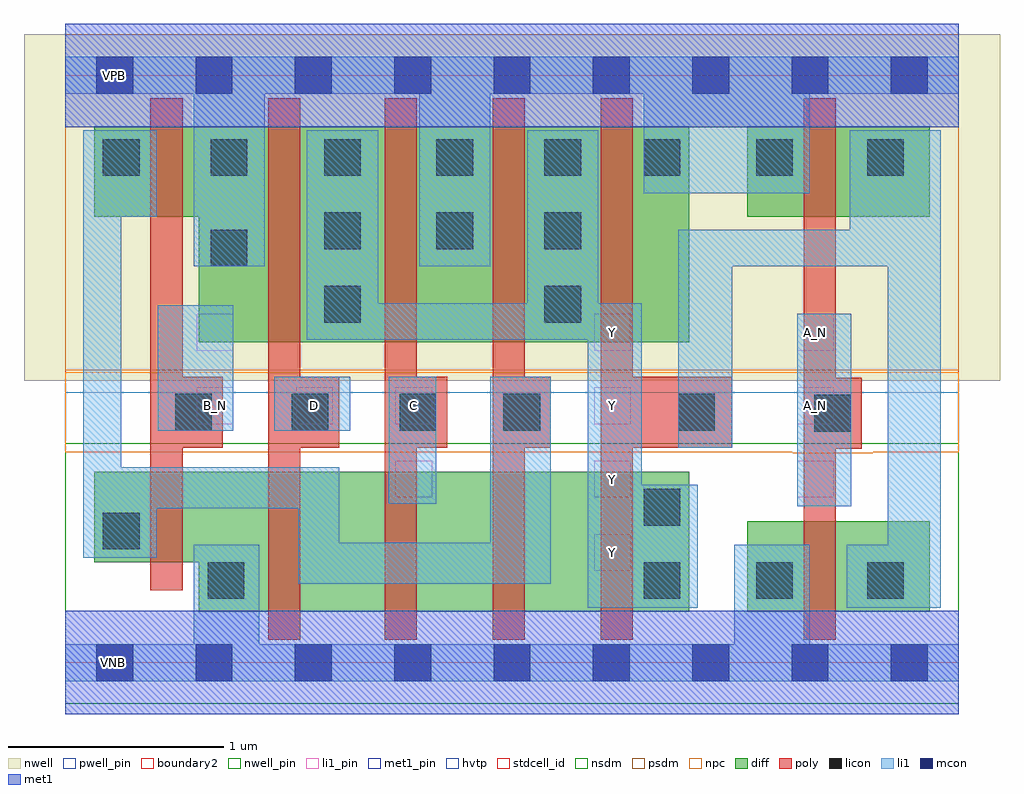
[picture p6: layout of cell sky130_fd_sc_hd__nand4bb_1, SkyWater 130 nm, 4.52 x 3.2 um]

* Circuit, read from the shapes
.subckt sky130_fd_sc_hd__nand4bb_1 A_N B_N C D VGND VNB VPB VPWR Y
XM1 VGND B_N n1 VNB sky130_fd_pr__nfet_01v8 w=0.42 l=0.15
XM2 n2 D VGND VNB sky130_fd_pr__nfet_01v8 w=0.65 l=0.15
XM3 n3 C n2 VNB sky130_fd_pr__nfet_01v8 w=0.65 l=0.15
XM4 n4 n1 n3 VNB sky130_fd_pr__nfet_01v8 w=0.65 l=0.15
XM5 Y n5 n4 VNB sky130_fd_pr__nfet_01v8 w=0.65 l=0.15
XM6 n5 A_N VGND VNB sky130_fd_pr__nfet_01v8 w=0.42 l=0.15
XM7 VPWR B_N n1 VPB sky130_fd_pr__pfet_01v8_hvt w=0.42 l=0.15
XM8 Y D VPWR VPB sky130_fd_pr__pfet_01v8_hvt w=1 l=0.15
XM9 VPWR C Y VPB sky130_fd_pr__pfet_01v8_hvt w=1 l=0.15
XM10 Y n1 VPWR VPB sky130_fd_pr__pfet_01v8_hvt w=1 l=0.15
XM11 VPWR n5 Y VPB sky130_fd_pr__pfet_01v8_hvt w=1 l=0.15
XM12 n5 A_N VPWR VPB sky130_fd_pr__pfet_01v8_hvt w=0.42 l=0.15
.ends

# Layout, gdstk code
import gdstk
lib = gdstk.Library(unit=1e-6, precision=1e-09)
def R(c, l, rs):  # rectangles x0, y0, x1, y1
    for r in rs: c.add(gdstk.rectangle(r[:2], r[2:], *l))
def A(c, l, x, y, w, h, nx, ny, dx, dy):  # array of equal rectangles
    R(c, l, [(x+i*dx, y+j*dy, x+i*dx+w, y+j*dy+h) for i in range(nx) for j in range(ny)])
def P(c, l, *ps):  # polygons
    for p in ps: c.add(gdstk.Polygon(p, *l))
nwell_pin = (64, 16)
nwell = (64, 20)
diff = (65, 20)
poly = (66, 20)
licon = (66, 44)
li1_pin = (67, 16)
li1 = (67, 20)
mcon = (67, 44)
met1_pin = (68, 16)
met1 = (68, 20)
hvtp = (78, 44)
stdcell_id = (81, 4)
nsdm = (93, 44)
psdm = (94, 20)
npc = (95, 20)
pwell_pin = (122, 16)
boundary2 = (236, 0)

sky130_fd_sc_hd__nand4bb = lib.new_cell('sky130_fd_sc_hd__nand4bb_1')
R(sky130_fd_sc_hd__nand4bb, nwell_pin, [(0.145,2.635,0.315,2.805)])
R(sky130_fd_sc_hd__nand4bb, nwell, [(-0.19,1.305,4.33,2.91)])
R(sky130_fd_sc_hd__nand4bb, diff, [(3.16,0.235,4.005,0.655), (3.16,2.065,4.005,2.485)])
P(sky130_fd_sc_hd__nand4bb, diff, [(2.89,0.885),(0.135,0.885),(0.135,0.465),(0.62,0.465),(0.62,0.235),(2.89,0.235)],
  [(2.89,2.485),(0.135,2.485),(0.135,2.065),(0.62,2.065),(0.62,1.485),(2.89,1.485)])
P(sky130_fd_sc_hd__nand4bb, poly, [(3.69,1.32),(3.57,1.32),(3.57,2.615),(3.42,2.615),(3.42,0.105),(3.57,0.105),(3.57,0.99),(3.69,0.99)],
  [(1.27,1.325),(1.09,1.325),(1.09,2.615),(0.94,2.615),(0.94,0.105),(1.09,0.105),(1.09,0.995),(1.27,0.995)],
  [(2.25,1.325),(2.13,1.325),(2.13,2.615),(1.98,2.615),(1.98,0.105),(2.13,0.105),(2.13,0.995),(2.25,0.995)],
  [(0.73,1.325),(0.545,1.325),(0.545,2.615),(0.395,2.615),(0.395,0.335),(0.545,0.335),(0.545,0.995),(0.73,0.995)],
  [(3.09,1.325),(2.63,1.325),(2.63,2.615),(2.48,2.615),(2.48,0.105),(2.63,0.105),(2.63,0.995),(3.09,0.995)],
  [(1.77,1.325),(1.63,1.325),(1.63,2.615),(1.48,2.615),(1.48,0.105),(1.63,0.105),(1.63,0.995),(1.77,0.995)])
A(sky130_fd_sc_hd__nand4bb, licon, 1.2, 1.575, 0.17, 0.17, 1, 3, 0, 0.34)
A(sky130_fd_sc_hd__nand4bb, licon, 2.22, 1.575, 0.17, 0.17, 1, 3, 0, 0.34)
R(sky130_fd_sc_hd__nand4bb, licon, [(0.66,0.295,0.83,0.465), (2.68,0.295,2.85,0.465), (3.2,0.295,3.37,0.465), (3.715,0.295,3.885,0.465), (0.175,0.525,0.345,0.695), (2.68,0.635,2.85,0.805), (3.47,1.07,3.64,1.24), (0.51,1.075,0.68,1.245), (1.05,1.075,1.22,1.245), (1.55,1.075,1.72,1.245), (2.03,1.075,2.2,1.245), (2.84,1.075,3.01,1.245), (0.675,1.835,0.845,2.005), (1.72,1.915,1.89,2.085), (0.175,2.255,0.345,2.425), (0.675,2.255,0.845,2.425), (1.72,2.255,1.89,2.425), (2.68,2.255,2.85,2.425), (3.2,2.255,3.37,2.425), (3.715,2.255,3.885,2.425)])
A(sky130_fd_sc_hd__nand4bb, li1_pin, 2.45, 0.425, 0.17, 0.17, 1, 4, 0, 0.34)
A(sky130_fd_sc_hd__nand4bb, li1_pin, 3.39, 0.765, 0.17, 0.17, 1, 3, 0, 0.34)
A(sky130_fd_sc_hd__nand4bb, li1_pin, 0.61, 1.105, 0.17, 0.17, 3, 1, 0.46, 0)
R(sky130_fd_sc_hd__nand4bb, li1_pin, [(1.53,0.765,1.7,0.935), (0.61,1.445,0.78,1.615)])
R(sky130_fd_sc_hd__nand4bb, li1, [(3.39,0.725,3.64,1.615), (1.5,0.735,1.72,1.325), (0.43,1.075,0.78,1.655), (0.97,1.075,1.32,1.325)])
P(sky130_fd_sc_hd__nand4bb, li1, [(4.055,2.465),(3.635,2.465),(3.635,2.005),(2.84,2.005),(2.84,0.995),(3.09,0.995),(3.09,1.835),(3.81,1.835),(3.81,0.545),(3.62,0.545),(3.62,0.255),(4.055,0.255)],
  [(2.93,0.825),(2.67,0.825),(2.67,1.665),(2.47,1.665),(2.47,2.465),(2.14,2.465),(2.14,1.665),(1.45,1.665),(1.45,2.465),(1.12,2.465),(1.12,1.495),(2.42,1.495),(2.42,0.255),(2.93,0.255)],
  [(2.25,1.325),(1.97,1.325),(1.97,0.555),(1.27,0.555),(1.27,0.905),(0.26,0.905),(0.26,2.065),(0.425,2.065),(0.425,2.465),(0.085,2.465),(0.085,0.485),(0.425,0.485),(0.425,0.715),(1.08,0.715),(1.08,0.365),(2.25,0.365)],
  [(4.14,0.085),(3.45,0.085),(3.45,0.545),(3.1,0.545),(3.1,0.085),(0.9,0.085),(0.9,0.545),(0.595,0.545),(0.595,0.085),(0,0.085),(0,-0.085),(4.14,-0.085)],
  [(4.14,2.805),(0,2.805),(0,2.635),(0.595,2.635),(0.595,1.835),(0.925,1.835),(0.925,2.635),(1.64,2.635),(1.64,1.835),(1.97,1.835),(1.97,2.635),(2.68,2.635),(2.68,2.175),(3.45,2.175),(3.45,2.635),(4.14,2.635)])
A(sky130_fd_sc_hd__nand4bb, mcon, 0.145, -0.085, 0.17, 0.17, 9, 2, 0.46, 2.72)
R(sky130_fd_sc_hd__nand4bb, met1_pin, [(0.145,-0.085,0.315,0.085), (0.145,2.635,0.315,2.805)])
R(sky130_fd_sc_hd__nand4bb, hvtp, [(0,1.25,4.14,2.72)])
R(sky130_fd_sc_hd__nand4bb, stdcell_id, [(0,0,4.14,2.72)])
R(sky130_fd_sc_hd__nand4bb, nsdm, [(0,-0.19,4.14,1.015)])
R(sky130_fd_sc_hd__nand4bb, psdm, [(0,1.355,4.14,2.91)])
P(sky130_fd_sc_hd__nand4bb, npc, [(4.14,1.345),(0,1.345),(0,0.975),(3.37,0.975),(3.37,0.97),(3.74,0.97),(3.74,0.975),(4.14,0.975)])
R(sky130_fd_sc_hd__nand4bb, pwell_pin, [(0.145,-0.085,0.315,0.085)])
R(sky130_fd_sc_hd__nand4bb, boundary2, [(0,0,4.14,2.72)])
sky130_fd_sc_hd__nand4bb.add(gdstk.FlexPath([(0,2.72),(4.14,2.72)], 0.48, ends="flush", simple_path=True, layer=68, datatype=20))  # met1
sky130_fd_sc_hd__nand4bb.add(gdstk.FlexPath([(0,0),(4.14,0)], 0.48, ends="flush", simple_path=True, layer=68, datatype=20))  # met1
sky130_fd_sc_hd__nand4bb.add(gdstk.Label('C', (1.615,1.19), layer=67, texttype=5))
sky130_fd_sc_hd__nand4bb.add(gdstk.Label('D', (1.155,1.19), layer=67, texttype=5))
sky130_fd_sc_hd__nand4bb.add(gdstk.Label('A_N', (3.475,1.53), layer=67, texttype=5))
sky130_fd_sc_hd__nand4bb.add(gdstk.Label('A_N', (3.475,1.19), layer=67, texttype=5))
sky130_fd_sc_hd__nand4bb.add(gdstk.Label('Y', (2.535,1.53), layer=67, texttype=5))
sky130_fd_sc_hd__nand4bb.add(gdstk.Label('Y', (2.535,1.19), layer=67, texttype=5))
sky130_fd_sc_hd__nand4bb.add(gdstk.Label('Y', (2.535,0.85), layer=67, texttype=5))
sky130_fd_sc_hd__nand4bb.add(gdstk.Label('B_N', (0.695,1.19), layer=67, texttype=5))
sky130_fd_sc_hd__nand4bb.add(gdstk.Label('Y', (2.535,0.51), layer=67, texttype=5))
sky130_fd_sc_hd__nand4bb.add(gdstk.Label('VNB', (0.225,0), layer=64, texttype=59))
sky130_fd_sc_hd__nand4bb.add(gdstk.Label('VPB', (0.23,2.72), layer=64, texttype=5))
sky130_fd_sc_hd__nand4bb.add(gdstk.Label('VPWR', (0.23,2.72), layer=68, texttype=5))
sky130_fd_sc_hd__nand4bb.add(gdstk.Label('VGND', (0.23,0), layer=68, texttype=5))
sky130_fd_sc_hd__nand4bb.add(gdstk.Label('nand4bb_1', (0,0), layer=83, texttype=44))

lib.write_gds('sky130_fd_sc_hd__nand4bb_1.gds')
